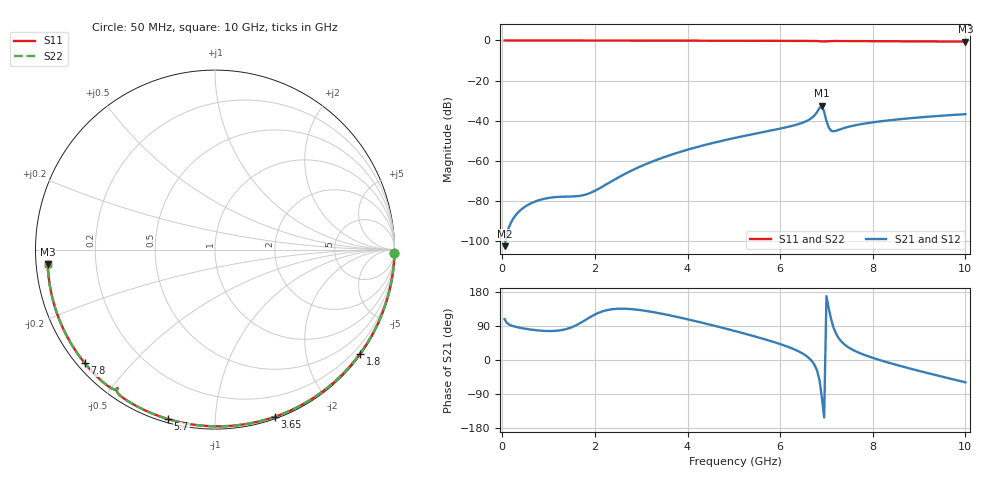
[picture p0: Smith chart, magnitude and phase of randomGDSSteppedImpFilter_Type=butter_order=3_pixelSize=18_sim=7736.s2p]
! freq	dB(S11)	phase(S11)	dB(S12)	phase(S12)
!  dB(S21)	phase(S21)	dB(S22)	phase(S22)
!S-par simulation data
#  GHz  S  DB  R 50
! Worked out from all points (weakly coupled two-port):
!   200 points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, 50 MHz to 10 GHz, reference 50 ohm
!   highest |S21| = -32.60 dB at 6.9 GHz (marker M1); lowest = -102.7 dB at 50 MHz (marker M2)
!   lowest |S11| = -0.6 dB at 10 GHz (marker M3), VSWR 30.09, Z = 1.66 - j2.15 ohm
!   |S11| at or under -10 dB: nowhere
!   |S22| runs from -0.6 to 0.0 dB; largest |S21 - S12| = 0
!   S11 on the Smith chart (normalised r, x): 50 MHz: open; 1.8 GHz: 0.03, -3.10; 3.65 GHz: 0.02, -1.42; 5.7 GHz: 0.02, -0.76; 7.8 GHz: 0.02, -0.37; 10 GHz: 0.03, -0.04
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0.05  -0.00 -1.0  -102.68 107.8  -102.68 107.8  -0.00 -1.0
0.75  -0.02 -15.1  -80.05 78.3  -80.05 78.3  -0.02 -15.1
1.1  -0.03 -22.0  -78.30 76.6  -78.30 76.6  -0.03 -22.0
1.75  -0.04 -34.7  -77.22 102.3  -77.22 102.3  -0.04 -34.7
1.8  -0.05 -35.7  -76.92 106.0  -76.92 106.0  -0.05 -35.7
2.05  -0.05 -40.5  -74.44 123.0  -74.44 123.0  -0.05 -40.5
2.8  -0.07 -54.7  -64.85 134.1  -64.85 134.1  -0.07 -54.7
3.4  -0.09 -65.7  -59.03 123.2  -59.03 123.2  -0.09 -65.7
3.65  -0.09 -70.2  -57.03 117.0  -57.03 117.0  -0.09 -70.2
5.05  -0.15 -94.6  -48.52 75.6  -48.52 75.6  -0.15 -94.6
5.7  -0.18 -105.4  -45.43 53.5  -45.43 53.5  -0.18 -105.4
6.4  -0.22 -117.0  -41.71 22.7  -41.71 22.7  -0.22 -117.0
6.7  -0.25 -122.1  -38.33 -5.2  -38.33 -5.2  -0.25 -122.1
6.9  -0.51 -125.2  -32.60 -98.2  -32.60 -98.2  -0.51 -125.2
6.95  -0.45 -124.9  -35.64 -151.7  -35.64 -151.7  -0.45 -124.9
7  -0.36 -125.6  -40.21 168.6  -40.21 168.6  -0.36 -125.6
7.05  -0.32 -126.6  -43.50 135.9  -43.50 135.9  -0.32 -126.6
7.1  -0.30 -127.5  -45.04 107.9  -45.04 107.9  -0.30 -127.5
7.2  -0.30 -129.2  -45.13 71.3  -45.13 71.3  -0.30 -129.2
7.8  -0.33 -139.0  -41.57 14.3  -41.57 14.3  -0.33 -139.0
8.35  -0.38 -147.8  -39.87 -7.4  -39.87 -7.4  -0.38 -147.8
10  -0.58 -175.1  -36.80 -58.9  -36.80 -58.9  -0.58 -175.1
